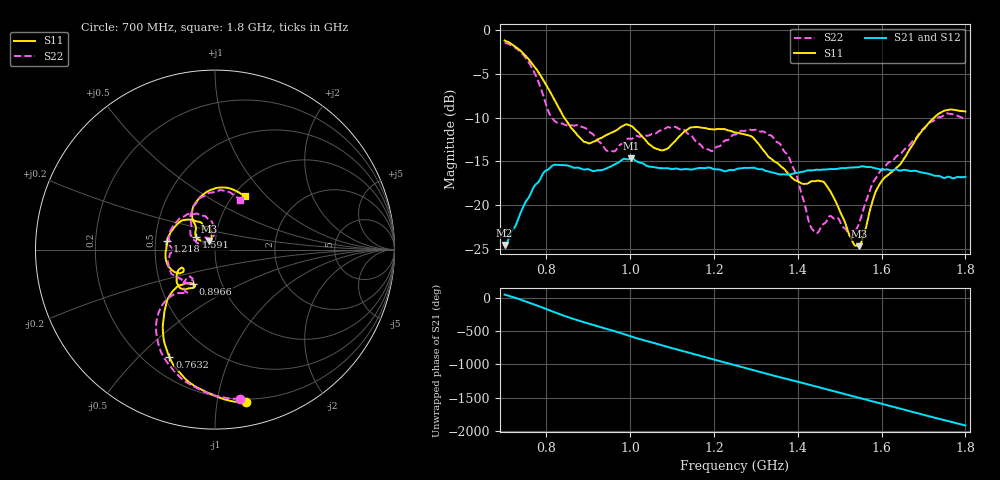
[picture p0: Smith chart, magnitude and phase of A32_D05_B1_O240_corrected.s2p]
! Created with skrf 1.9.0 (http://scikit-rf.org).
# Hz S RI R 50.0
!freq ReS11 ImS11 ReS21 ImS21 ReS12 ImS12 ReS22 ImS22
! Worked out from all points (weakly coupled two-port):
!   1601 points, 700 MHz to 1.8 GHz, reference 50 ohm
!   highest |S21| = -14.67 dB at 1.002 GHz (marker M1); lowest = -24.5 dB at 700 MHz (marker M2)
!   lowest |S11| = -24.7 dB at 1.546 GHz (marker M3), VSWR 1.12, Z = 46.5 + j4.48 ohm
!   |S11| at or under -10 dB: 842.4 MHz to 1.726 GHz (883.1 MHz wide, 68.8 % of centre)
!   |S22| runs from -23.5 to -1.5 dB; largest |S21 - S12| = 0.0034
!   S11 on the Smith chart (normalised r, x): 700 MHz: 0.17, -1.21; 763.2 MHz: 0.30, -0.62; 896.6 MHz: 0.73, -0.29; 1.218 GHz: 0.58, +0.06; 1.591 GHz: 0.80, +0.11; 1.8 GHz: 1.12, +0.76
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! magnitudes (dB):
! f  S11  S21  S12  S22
! 700 MHz  -1.2  -24.5  -24.3  -1.5
! 763.2 MHz  -3.7  -18.6  -18.6  -4.2
! 816.2 MHz  -7.7  -15.4  -15.5  -10.2
! 883.6 MHz  -12.5  -15.9  -15.8  -11.0
! 896.6 MHz  -12.9  -15.9  -16.0  -11.3
! 946.8 MHz  -11.9  -15.7  -15.7  -13.8
! 1.002 GHz  -11.0  -14.7  -14.8  -12.4
! 1.067 GHz  -13.6  -15.7  -15.7  -11.6
! 1.144 GHz  -11.1  -15.9  -15.9  -12.0
! 1.218 GHz  -11.3  -16.0  -16.0  -13.1
! 1.25 GHz  -11.7  -15.9  -15.9  -11.9
! 1.357 GHz  -15.5  -16.5  -16.4  -13.0
! 1.395 GHz  -17.2  -16.3  -16.3  -16.3
! 1.434 GHz  -17.2  -16.0  -16.0  -22.7
! 1.467 GHz  -17.7  -15.9  -15.9  -21.9
! 1.494 GHz  -19.9  -15.8  -15.8  -21.4
! 1.526 GHz  -23.7  -15.7  -15.7  -23.5
! 1.546 GHz  -24.7  -15.6  -15.6  -22.0
! 1.591 GHz  -18.0  -15.8  -15.8  -16.5
! 1.617 GHz  -16.5  -16.0  -15.9  -15.1
! 1.731 GHz  -9.8  -16.6  -16.6  -10.1
! 1.8 GHz  -9.3  -16.8  -16.8  -10.2
